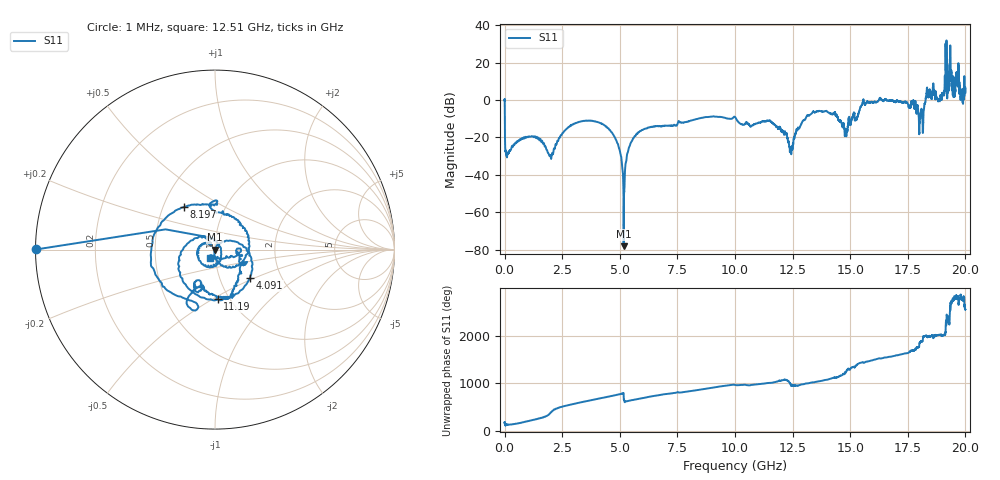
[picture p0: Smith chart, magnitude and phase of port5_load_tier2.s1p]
! Created with skrf 1.8.0 (http://scikit-rf.org).
# GHz S RI R 50.0
!freq ReS11 ImS11
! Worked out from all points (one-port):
!   10001 points, 1 MHz to 20 GHz, reference 50 ohm
!   lowest |S11| = -78.1 dB at 5.169 GHz (marker M1), VSWR 1.00, Z = 50 - j0.00189 ohm
!   |S11| at or under -10 dB: 8.818 MHz to 8.384 GHz (8.375 GHz wide, 200 % of centre); 10.05 GHz to 13.06 GHz (3.013 GHz wide, 26.1 % of centre); 14.48 GHz to 14.93 GHz (449.4 MHz wide, 3.06 % of centre) (the widest 3 of 16)
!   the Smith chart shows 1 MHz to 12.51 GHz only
!   S11 on the Smith chart (normalised r, x): 1 MHz: 0.00, +0.00; 4.091 GHz: 1.39, -0.47; 8.197 GHz: 0.64, +0.33; 11.19 GHz: 0.89, -0.53; 12.51 GHz: 0.93, -0.10
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0.001  -0.9965 0.000974
0.1309935  -0.0248 0.0277
2.500875  -0.1095 0.0634
4.090795  0.1941 -0.1584
5.00075  0.0257 0.0355
5.168742  0.000122 -1.89e-05
5.730714  0.0755 -0.0999
7.500625  -0.0166 0.2244
8.19659  -0.1736 0.2367
10.0005  -0.1422 -0.3227
11.19244  0.0159 -0.2746
12.50038  -0.0315 -0.0462
12.50837  -0.0348 -0.0558
15.00025  -0.1603 -0.1394
15.63222  0.7425 -0.0206
16.33218  0.1509 1.027
17.50013  -0.7705 -0.2042
17.9581  0.3204 -0.3462
18.37608  -1.234 0.0188
19.04005  -1.342 -0.7253
19.08005  -1.059 -1.012
19.16804  2.17 3.366
19.24204  -1.376 -1.432
19.37003  -2.822 2.619
19.45003  -0.7757 -1.213
19.59402  1.853 -2.88
19.79401  1.145 -0.4396
20  1.742 0.9886
